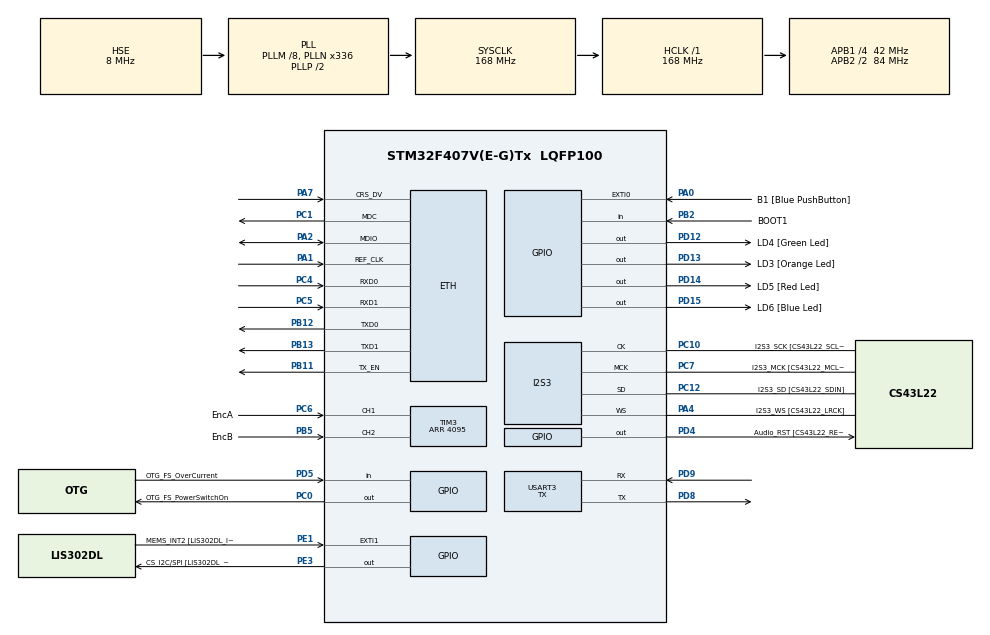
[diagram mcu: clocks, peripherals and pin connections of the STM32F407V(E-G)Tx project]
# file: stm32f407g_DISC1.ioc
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ADC1.Channel-0\#ChannelRegularConversion=ADC_CHANNEL_VREFINT
ADC1.NbrOfConversionFlag=1
ADC1.Rank-0\#ChannelRegularConversion=1
ADC1.SamplingTime-0\#ChannelRegularConversion=ADC_SAMPLETIME_3CYCLES
ADC1.master=1
ETH.MediaInterface=HAL_ETH_RMII_MODE
I2S3.AudioFreq-Half_Duplex_Master=I2S_AUDIOFREQ_96K
I2S3.ErrorAudioFreq=-2.34 %
I2S3.ErrorAudioFreq-Half_Duplex_Master=0.8 %
I2S3.FullDuplexMode=I2S_FULLDUPLEXMODE_DISABLE
I2S3.Instance=SPI$Index
I2S3.RealAudioFreq=93.75 KHz
I2S3.RealAudioFreq-Half_Duplex_Master=96.774 KHz
I2S3.VirtualMode=I2S_MODE_MASTER
LWIP.BSP.number=1
LWIP.GATEWAY_ADDRESS=192.168.100.001
LWIP.IP_ADDRESS=192.168.100.101
LWIP.LWIP_DHCP=0
LWIP.MEMP_NUM_TCP_SEG=24
LWIP.NETMASK_ADDRESS=255.255.255.000
LWIP.TCP_MSS=460
LWIP.TCP_SND_BUF=1840
LWIP.TCP_WND=2048
LWIP.Version=v2.1.2_Cube
LWIP0.BSP.STBoard=false
LWIP0.BSP.api=BSP_COMPONENT_DRIVER
LWIP0.BSP.component=LAN8742
LWIP0.BSP.instance=LAN8742
LWIP0.BSP.name=Driver_PHY
LWIP0.BSP.semaphore=S_LAN8742
LWIP0.BSP.solution=LAN8742
Mcu.Family=STM32F4
Mcu.Name=STM32F407V(E-G)Tx
Mcu.Package=LQFP100
NVIC.ETH_IRQn=true\:0\:0\:false\:false\:true\:true\:true\:true
NVIC.PriorityGroup=NVIC_PRIORITYGROUP_0
NVIC.TIM7_IRQn=true\:0\:0\:false\:false\:true\:true\:true\:true
PA0-WKUP.GPIO_Label=B1 [Blue PushButton]
PA0-WKUP.GPIO_ModeDefaultEXTI=GPIO_MODE_EVT_RISING
PA0-WKUP.GPIO_PuPd=GPIO_NOPULL
PA0-WKUP.Signal=GPXTI0
PA1.Mode=RMII
PA1.Signal=ETH_REF_CLK
PA10.GPIO_Label=OTG_FS_ID
PA10.GPIO_Mode=GPIO_MODE_AF_PP
PA10.GPIO_PuPd=GPIO_NOPULL
PA10.GPIO_Speed=GPIO_SPEED_FREQ_LOW
PA10.Signal=USB_OTG_FS_ID
PA11.GPIO_Label=OTG_FS_DM
PA11.GPIO_Mode=GPIO_MODE_AF_PP
PA11.GPIO_PuPd=GPIO_NOPULL
PA11.GPIO_Speed=GPIO_SPEED_FREQ_LOW
PA11.Signal=USB_OTG_FS_DM
PA12.GPIO_Label=OTG_FS_DP
PA12.GPIO_Mode=GPIO_MODE_AF_PP
PA12.GPIO_PuPd=GPIO_NOPULL
PA12.GPIO_Speed=GPIO_SPEED_FREQ_LOW
PA12.Signal=USB_OTG_FS_DP
PA13.GPIO_Label=SWDIO
PA13.Mode=Serial_Wire
PA13.Signal=SYS_JTMS-SWDIO
PA14.GPIO_Label=SWCLK
PA14.Mode=Serial_Wire
PA14.Signal=SYS_JTCK-SWCLK
PA2.Mode=RMII
PA2.Signal=ETH_MDIO
PA4.GPIO_Label=I2S3_WS [CS43L22_LRCK]
PA4.GPIO_Mode=GPIO_MODE_AF_PP
PA4.GPIO_PuPd=GPIO_NOPULL
PA4.GPIO_Speed=GPIO_SPEED_FREQ_LOW
PA4.Mode=Half_Duplex_Master
PA4.Signal=I2S3_WS
PA5.GPIO_Label=SPI1_SCK [LIS302DL_SCL/SPC]
PA5.GPIO_Mode=GPIO_MODE_AF_PP
PA5.GPIO_PuPd=GPIO_NOPULL
PA5.GPIO_Speed=GPIO_SPEED_FREQ_LOW
PA5.Signal=SPI1_SCK
PA6.GPIO_Label=SPI1_MISO [LIS302DL_SDO]
PA6.GPIO_Mode=GPIO_MODE_AF_PP
PA6.GPIO_PuPd=GPIO_NOPULL
PA6.GPIO_Speed=GPIO_SPEED_FREQ_LOW
PA6.Signal=SPI1_MISO
PA7.Mode=RMII
PA7.Signal=ETH_CRS_DV
PA9.GPIO_Label=VBUS_FS
PA9.GPIO_Mode=GPIO_MODE_INPUT
PA9.GPIO_PuPd=GPIO_NOPULL
PA9.Signal=USB_OTG_FS_VBUS
PB10.GPIO_Label=CLK_IN [MP45DT02_CLK]
PB10.GPIO_Mode=GPIO_MODE_AF_PP
PB10.GPIO_PuPd=GPIO_NOPULL
PB10.GPIO_Speed=GPIO_SPEED_FREQ_LOW
PB10.Signal=I2S2_CK
PB11.Mode=RMII
PB11.Signal=ETH_TX_EN
PB12.Mode=RMII
PB12.Signal=ETH_TXD0
PB13.Mode=RMII
PB13.Signal=ETH_TXD1
PB2.GPIO_Label=BOOT1
PB2.GPIO_Mode=GPIO_MODE_INPUT
PB2.GPIO_PuPd=GPIO_NOPULL
PB2.Signal=GPIO_Input
PB3.GPIO_Label=SWO
PB3.Signal=SYS_JTDO-SWO
PB5.GPIO_Label=EncB
PB5.GPIO_PuPd=GPIO_PULLDOWN
PB5.Signal=S_TIM3_CH2
PB6.GPIO_Label=Audio_SCL [CS43L22_SCL]
PB6.GPIO_Mode=GPIO_MODE_AF_OD
PB6.GPIO_Pu=GPIO_PULLUP
PB6.GPIO_PuPd=GPIO_NOPULL
PB6.GPIO_Speed=GPIO_SPEED_FREQ_LOW
PB6.Signal=I2C1_SCL
PB9.GPIO_Label=Audio_SDA [CS43L22_SDA]
PB9.GPIO_Mode=GPIO_MODE_AF_OD
PB9.GPIO_Pu=GPIO_PULLUP
PB9.GPIO_PuPd=GPIO_NOPULL
PB9.GPIO_Speed=GPIO_SPEED_FREQ_LOW
PB9.Signal=I2C1_SDA
PC0.GPIO_Label=OTG_FS_PowerSwitchOn
PC0.GPIO_PuPd=GPIO_NOPULL
PC0.GPIO_Speed=GPIO_SPEED_FREQ_LOW
PC0.PinState=GPIO_PIN_SET
PC0.Signal=GPIO_Output
PC1.Mode=RMII
PC1.Signal=ETH_MDC
PC10.GPIO_Label=I2S3_SCK [CS43L22_SCLK]
PC10.GPIO_Mode=GPIO_MODE_AF_PP
PC10.GPIO_PuPd=GPIO_NOPULL
PC10.GPIO_Speed=GPIO_SPEED_FREQ_LOW
PC10.Mode=Half_Duplex_Master
PC10.Signal=I2S3_CK
PC12.GPIO_Label=I2S3_SD [CS43L22_SDIN]
PC12.GPIO_Mode=GPIO_MODE_AF_PP
PC12.GPIO_PuPd=GPIO_NOPULL
PC12.GPIO_Speed=GPIO_SPEED_FREQ_LOW
PC12.Mode=Half_Duplex_Master
PC12.Signal=I2S3_SD
PC14-OSC32_IN.GPIO_Label=PC14-OSC32_IN
PC14-OSC32_IN.Mode=LSE-External-Oscillator
PC14-OSC32_IN.Signal=RCC_OSC32_IN
PC15-OSC32_OUT.GPIO_Label=PC15-OSC32_OUT
PC15-OSC32_OUT.Mode=LSE-External-Oscillator
PC15-OSC32_OUT.Signal=RCC_OSC32_OUT
PC3.GPIO_Label=PDM_OUT [MP45DT02_DOUT]
PC3.GPIO_Mode=GPIO_MODE_AF_PP
PC3.GPIO_PuPd=GPIO_NOPULL
PC3.GPIO_Speed=GPIO_SPEED_FREQ_LOW
PC3.Signal=I2S2_SD
PC4.Mode=RMII
PC4.Signal=ETH_RXD0
PC5.Mode=RMII
PC5.Signal=ETH_RXD1
PC6.GPIO_Label=EncA
PC6.GPIO_PuPd=GPIO_PULLDOWN
PC6.Signal=S_TIM3_CH1
PC7.GPIO_Label=I2S3_MCK [CS43L22_MCLK]
PC7.GPIO_Mode=GPIO_MODE_AF_PP
PC7.GPIO_PuPd=GPIO_NOPULL
PC7.GPIO_Speed=GPIO_SPEED_FREQ_LOW
PC7.Mode=Master_Clock_Activated
PC7.Signal=I2S3_MCK
PD12.GPIO_Label=LD4 [Green Led]
PD12.GPIO_PuPd=GPIO_NOPULL
PD12.GPIO_Speed=GPIO_SPEED_FREQ_LOW
PD12.Signal=GPIO_Output
PD13.GPIO_Label=LD3 [Orange Led]
PD13.GPIO_PuPd=GPIO_NOPULL
PD13.GPIO_Speed=GPIO_SPEED_FREQ_LOW
PD13.Signal=GPIO_Output
PD14.GPIO_Label=LD5 [Red Led]
PD14.GPIO_PuPd=GPIO_NOPULL
PD14.GPIO_Speed=GPIO_SPEED_FREQ_LOW
PD14.Signal=GPIO_Output
PD15.GPIO_Label=LD6 [Blue Led]
PD15.GPIO_PuPd=GPIO_NOPULL
PD15.GPIO_Speed=GPIO_SPEED_FREQ_LOW
PD15.Signal=GPIO_Output
PD4.GPIO_Label=Audio_RST [CS43L22_RESET]
PD4.GPIO_PuPd=GPIO_NOPULL
PD4.GPIO_Speed=GPIO_SPEED_FREQ_LOW
PD4.Signal=GPIO_Output
PD5.GPIO_Label=OTG_FS_OverCurrent
PD5.GPIO_Mode=GPIO_MODE_INPUT
PD5.GPIO_PuPd=GPIO_NOPULL
PD5.Signal=GPIO_Input
PD8.Mode=Asynchronous
PD8.Signal=USART3_TX
PD9.Mode=Asynchronous
PD9.Signal=USART3_RX
PE1.GPIO_Label=MEMS_INT2 [LIS302DL_INT2]
PE1.GPIO_ModeDefaultEXTI=GPIO_MODE_EVT_RISING
PE1.GPIO_PuPd=GPIO_NOPULL
PE1.Signal=GPXTI1
PE3.GPIO_Label=CS_I2C/SPI [LIS302DL_CS_I2C/SPI]
PE3.GPIO_PuPd=GPIO_NOPULL
PE3.GPIO_Speed=GPIO_SPEED_FREQ_LOW
PE3.Signal=GPIO_Output
PH0-OSC_IN.GPIO_Label=PH0-OSC_IN
PH0-OSC_IN.Mode=HSE-External-Oscillator
PH0-OSC_IN.Signal=RCC_OSC_IN
PH1-OSC_OUT.GPIO_Label=PH1-OSC_OUT
PH1-OSC_OUT.Mode=HSE-External-Oscillator
PH1-OSC_OUT.Signal=RCC_OSC_OUT
ProjectManager.HeapSize=0x2000
ProjectManager.StackSize=0x4000
ProjectManager.TargetToolchain=STM32CubeIDE
RCC.48MHZClocksFreq_Value=48000000
RCC.AHBFreq_Value=168000000
RCC.APB1CLKDivider=RCC_HCLK_DIV4
RCC.APB1Freq_Value=42000000
RCC.APB1TimFreq_Value=84000000
RCC.APB2CLKDivider=RCC_HCLK_DIV2
RCC.APB2Freq_Value=84000000
RCC.APB2TimFreq_Value=168000000
RCC.CortexFreq_Value=168000000
RCC.HCLKFreq_Value=168000000
RCC.HSE_VALUE=8000000
RCC.HSI_VALUE=16000000
RCC.PLLM=8
RCC.PLLN=336
RCC.PLLQ=7
RCC.PLLSourceVirtual=RCC_PLLSOURCE_HSE
RCC.SYSCLKFreq_VALUE=168000000
RCC.SYSCLKSource=RCC_SYSCLKSOURCE_PLLCLK
RCC.VCOOutputFreq_Value=336000000
SH.S_TIM3_CH1.0=TIM3_CH1,Encoder_Interface
SH.S_TIM3_CH2.0=TIM3_CH2,Encoder_Interface
TIM3.EncoderMode=TIM_ENCODERMODE_TI2
TIM3.IC1Filter=15
TIM3.IC2Filter=15
TIM3.Period=4095
TIM7.Prescaler=83
USART3.Mode=MODE_TX
USART3.VirtualMode=VM_ASYNC
VP_ADC1_Vref_Input.Mode=IN-Vrefint
VP_CRC_VS_CRC.Mode=CRC_Activate
VP_LWIP_VS_Enabled.Mode=Enabled
VP_TIM7_VS_ClockSourceINT.Mode=Enable_Timer
board=STM32F407G-DISC1

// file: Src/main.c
/* USER CODE BEGIN Header */
/**
  ******************************************************************************
  * @file           : main.c
  * @brief          : Main program body
  ******************************************************************************
  * @attention
  *
  * Copyright (c) 2024 STMicroelectronics.
  * All rights reserved.
  *
  * This software is licensed under terms that can be found in the LICENSE file
  * in the root directory of this software component.
  * If no LICENSE file comes with this software, it is provided AS-IS.
  *
  ******************************************************************************
  */
/* USER CODE END Header */
#include "main.h"
#include "lwip.h"

/* USER CODE BEGIN Includes */
#include <stdarg.h>
//information from datasheet DS8626 Rev 10 for STM32F40xxx
#define VREF_PLUS_CHARAC 3.3f
#define VREFINT_CAL_ADDR 0x1FFF7A2A
float get_stm_VDDA(ADC_HandleTypeDef *hadc);
#ifndef EXCLUDE_MPU6050
//compile main.c with g++ compilator! we need safe compatibility with STMCubeMx
//#include "MPU6050_6Axis_MotionApps612.h"
//#include "MPU6050_6Axis_MotionApps20.h"
//#include "MPU6050_9Axis_MotionApps41.h"
//#include "IMU_Zero.h"
//#include "HMC5883L.h"
MPU6050 mpu;
#define accelgyro mpu
extern "C" int __io_putchar(int ch);
#define M_PI           3.14159265358979323846  /* pi */
// class default I2C address is 0x1E
// specific I2C addresses may be passed as a parameter here
// this device only supports one I2C address (0x1E)
HMC5883L mag;
#endif
/* USER CODE END Includes */

ADC_HandleTypeDef hadc1;

CRC_HandleTypeDef hcrc;

I2S_HandleTypeDef hi2s3;

TIM_HandleTypeDef htim3;
TIM_HandleTypeDef htim7;

UART_HandleTypeDef huart3;

void SystemClock_Config(void);
static void MX_GPIO_Init(void);
static void MX_I2S3_Init(void);
static void MX_TIM7_Init(void);
static void MX_TIM3_Init(void);
static void MX_CRC_Init(void);
static void MX_USART3_UART_Init(void);
static void MX_ADC1_Init(void);

/* USER CODE BEGIN 0 */
//new branch
uint32_t Crc32(uint32_t Crc, uint32_t Data)
{
 uint8_t i;

 Crc = Crc ^ Data;

 for(i=0; i<32; i++)
   if (Crc & 0x80000000)
     Crc = (Crc << 1) ^ 0x04C11DB7; // Polynomial used in STM32
   else
     Crc = (Crc << 1);

 return(Crc);
}

/* USER CODE END 0 */

int main(void)
{

  /* MCU Configuration--------------------------------------------------------*/

  /* Reset of all peripherals, Initializes the Flash interface and the Systick. */
  HAL_Init();

  /* Configure the system clock */
  SystemClock_Config();

  /* USER CODE BEGIN SysInit */
  setvbuf(stdin, NULL, _IONBF, 0);
  setvbuf(stdout, NULL, _IONBF, 0);
  setvbuf(stderr, NULL, _IONBF, 0);
  /* USER CODE END SysInit */

  /* Initialize all configured peripherals */
  MX_GPIO_Init();
  MX_I2S3_Init();
  MX_TIM7_Init();
  MX_TIM3_Init();
  MX_CRC_Init();
  MX_USART3_UART_Init();
  MX_LWIP_Init();
  MX_ADC1_Init();
  /* USER CODE BEGIN 2 */
  uint32_t pBuffer = 0x01020304;
  uint32_t crc32 = HAL_CRC_Calculate(&hcrc,&pBuffer, 1);
  uint32_t crc_polynom;
  uint32_t crc_cal2 = 0;
  crc32 = ~crc32;
  crc_polynom = 0xFFFFFFFF;
  crc_cal2 = Crc32(crc_polynom, pBuffer);
  //printf("crc32: %lx %lx\n",crc32,crc_cal2);
  /* USER CODE END 2 */

  /* Infinite loop */
  /* USER CODE BEGIN WHILE */
  uint32_t tmp = 0;
  //printf("Hello World\n");
  //printf("Hello World\n");
    // Запуск таймера для генерации сигнала
  while (1)
  {
    MX_LWIP_Process();
    HAL_Delay(100);
    HAL_GPIO_TogglePin(GPIOD, LD4_Pin|LD3_Pin|LD5_Pin|LD6_Pin);
    print("stm vdda: %.2f\n",get_stm_VDDA(&hadc1));
    /* USER CODE END WHILE */

  }
}

void SystemClock_Config(void)
{
  RCC_OscInitTypeDef RCC_OscInitStruct = {0};
  RCC_ClkInitTypeDef RCC_ClkInitStruct = {0};

  /** Configure the main internal regulator output voltage
  */
  __HAL_RCC_PWR_CLK_ENABLE();
  __HAL_PWR_VOLTAGESCALING_CONFIG(PWR_REGULATOR_VOLTAGE_SCALE1);

  /** Initializes the RCC Oscillators according to the specified parameters
  * in the RCC_OscInitTypeDef structure.
  */
  RCC_OscInitStruct.OscillatorType = RCC_OSCILLATORTYPE_HSE;
  RCC_OscInitStruct.HSEState = RCC_HSE_ON;
  RCC_OscInitStruct.PLL.PLLState = RCC_PLL_ON;
  RCC_OscInitStruct.PLL.PLLSource = RCC_PLLSOURCE_HSE;
  RCC_OscInitStruct.PLL.PLLM = 8;
  RCC_OscInitStruct.PLL.PLLN = 336;
  RCC_OscInitStruct.PLL.PLLP = RCC_PLLP_DIV2;
  RCC_OscInitStruct.PLL.PLLQ = 7;
  if (HAL_RCC_OscConfig(&RCC_OscInitStruct) != HAL_OK)
  {
    Error_Handler();
  }

  /** Initializes the CPU, AHB and APB buses clocks
  */
  RCC_ClkInitStruct.ClockType = RCC_CLOCKTYPE_HCLK|RCC_CLOCKTYPE_SYSCLK
                              |RCC_CLOCKTYPE_PCLK1|RCC_CLOCKTYPE_PCLK2;
  RCC_ClkInitStruct.SYSCLKSource = RCC_SYSCLKSOURCE_PLLCLK;
  RCC_ClkInitStruct.AHBCLKDivider = RCC_SYSCLK_DIV1;
  RCC_ClkInitStruct.APB1CLKDivider = RCC_HCLK_DIV4;
  RCC_ClkInitStruct.APB2CLKDivider = RCC_HCLK_DIV2;

  if (HAL_RCC_ClockConfig(&RCC_ClkInitStruct, FLASH_LATENCY_5) != HAL_OK)
  {
    Error_Handler();
  }
}

static void MX_ADC1_Init(void)
{

  ADC_ChannelConfTypeDef sConfig = {0};

  /** Configure the global features of the ADC (Clock, Resolution, Data Alignment and number of conversion)
  */
  hadc1.Instance = ADC1;
  hadc1.Init.ClockPrescaler = ADC_CLOCK_SYNC_PCLK_DIV4;
  hadc1.Init.Resolution = ADC_RESOLUTION_12B;
  hadc1.Init.ScanConvMode = DISABLE;
  hadc1.Init.ContinuousConvMode = DISABLE;
  hadc1.Init.DiscontinuousConvMode = DISABLE;
  hadc1.Init.ExternalTrigConvEdge = ADC_EXTERNALTRIGCONVEDGE_NONE;
  hadc1.Init.ExternalTrigConv = ADC_SOFTWARE_START;
  hadc1.Init.DataAlign = ADC_DATAALIGN_RIGHT;
  hadc1.Init.NbrOfConversion = 1;
  hadc1.Init.DMAContinuousRequests = DISABLE;
  hadc1.Init.EOCSelection = ADC_EOC_SINGLE_CONV;
  if (HAL_ADC_Init(&hadc1) != HAL_OK)
  {
    Error_Handler();
  }

  /** Configure for the selected ADC regular channel its corresponding rank in the sequencer and its sample time.
  */
  sConfig.Channel = ADC_CHANNEL_VREFINT;
  sConfig.Rank = 1;
  sConfig.SamplingTime = ADC_SAMPLETIME_480CYCLES;
  if (HAL_ADC_ConfigChannel(&hadc1, &sConfig) != HAL_OK)
  {
    Error_Handler();
  }

}

static void MX_CRC_Init(void)
{

  hcrc.Instance = CRC;
  if (HAL_CRC_Init(&hcrc) != HAL_OK)
  {
    Error_Handler();
  }

}

static void MX_I2S3_Init(void)
{

  hi2s3.Instance = SPI3;
  hi2s3.Init.Mode = I2S_MODE_MASTER_TX;
  hi2s3.Init.Standard = I2S_STANDARD_PHILIPS;
  hi2s3.Init.DataFormat = I2S_DATAFORMAT_16B;
  hi2s3.Init.MCLKOutput = I2S_MCLKOUTPUT_ENABLE;
  hi2s3.Init.AudioFreq = I2S_AUDIOFREQ_96K;
  hi2s3.Init.CPOL = I2S_CPOL_LOW;
  hi2s3.Init.ClockSource = I2S_CLOCK_PLL;
  hi2s3.Init.FullDuplexMode = I2S_FULLDUPLEXMODE_DISABLE;
  if (HAL_I2S_Init(&hi2s3) != HAL_OK)
  {
    Error_Handler();
  }

}

static void MX_TIM3_Init(void)
{

  TIM_Encoder_InitTypeDef sConfig = {0};
  TIM_MasterConfigTypeDef sMasterConfig = {0};

  htim3.Instance = TIM3;
  htim3.Init.Prescaler = 0;
  htim3.Init.CounterMode = TIM_COUNTERMODE_UP;
  htim3.Init.Period = 4095;
  htim3.Init.ClockDivision = TIM_CLOCKDIVISION_DIV1;
  htim3.Init.AutoReloadPreload = TIM_AUTORELOAD_PRELOAD_DISABLE;
  sConfig.EncoderMode = TIM_ENCODERMODE_TI2;
  sConfig.IC1Polarity = TIM_ICPOLARITY_RISING;
  sConfig.IC1Selection = TIM_ICSELECTION_DIRECTTI;
  sConfig.IC1Prescaler = TIM_ICPSC_DIV1;
  sConfig.IC1Filter = 15;
  sConfig.IC2Polarity = TIM_ICPOLARITY_RISING;
  sConfig.IC2Selection = TIM_ICSELECTION_DIRECTTI;
  sConfig.IC2Prescaler = TIM_ICPSC_DIV1;
  sConfig.IC2Filter = 15;
  if (HAL_TIM_Encoder_Init(&htim3, &sConfig) != HAL_OK)
  {
    Error_Handler();
  }
  sMasterConfig.MasterOutputTrigger = TIM_TRGO_RESET;
  sMasterConfig.MasterSlaveMode = TIM_MASTERSLAVEMODE_DISABLE;
  if (HAL_TIMEx_MasterConfigSynchronization(&htim3, &sMasterConfig) != HAL_OK)
  {
    Error_Handler();
  }
  /* USER CODE BEGIN TIM3_Init 2 */
  HAL_TIM_Encoder_Start_IT(&htim3, TIM_CHANNEL_ALL);
  /* USER CODE END TIM3_Init 2 */

}

static void MX_TIM7_Init(void)
{

  TIM_MasterConfigTypeDef sMasterConfig = {0};

  htim7.Instance = TIM7;
  htim7.Init.Prescaler = 83;
  htim7.Init.CounterMode = TIM_COUNTERMODE_UP;
  htim7.Init.Period = 65535;
  htim7.Init.AutoReloadPreload = TIM_AUTORELOAD_PRELOAD_DISABLE;
  if (HAL_TIM_Base_Init(&htim7) != HAL_OK)
  {
    Error_Handler();
  }
  sMasterConfig.MasterOutputTrigger = TIM_TRGO_RESET;
  sMasterConfig.MasterSlaveMode = TIM_MASTERSLAVEMODE_DISABLE;
  if (HAL_TIMEx_MasterConfigSynchronization(&htim7, &sMasterConfig) != HAL_OK)
  {
    Error_Handler();
  }
  /* USER CODE BEGIN TIM7_Init 2 */
   HAL_TIM_Base_Start(&htim7);
   __HAL_TIM_CLEAR_FLAG(&htim7, TIM_FLAG_UPDATE);
  /* USER CODE END TIM7_Init 2 */

}

static void MX_USART3_UART_Init(void)
{

  huart3.Instance = USART3;
  huart3.Init.BaudRate = 115200;
  huart3.Init.WordLength = UART_WORDLENGTH_8B;
  huart3.Init.StopBits = UART_STOPBITS_1;
  huart3.Init.Parity = UART_PARITY_NONE;
  huart3.Init.Mode = UART_MODE_TX;
  huart3.Init.HwFlowCtl = UART_HWCONTROL_NONE;
  huart3.Init.OverSampling = UART_OVERSAMPLING_16;
  if (HAL_UART_Init(&huart3) != HAL_OK)
  {
    Error_Handler();
  }

}

static void MX_GPIO_Init(void)
{
  GPIO_InitTypeDef GPIO_InitStruct = {0};

  /* GPIO Ports Clock Enable */
  __HAL_RCC_GPIOE_CLK_ENABLE();
  __HAL_RCC_GPIOC_CLK_ENABLE();
  __HAL_RCC_GPIOH_CLK_ENABLE();
  __HAL_RCC_GPIOA_CLK_ENABLE();
  __HAL_RCC_GPIOB_CLK_ENABLE();
  __HAL_RCC_GPIOD_CLK_ENABLE();

  /*Configure GPIO pin Output Level */
  HAL_GPIO_WritePin(CS_I2C_SPI_GPIO_Port, CS_I2C_SPI_Pin, GPIO_PIN_RESET);

  /*Configure GPIO pin Output Level */
  HAL_GPIO_WritePin(OTG_FS_PowerSwitchOn_GPIO_Port, OTG_FS_PowerSwitchOn_Pin, GPIO_PIN_SET);

  /*Configure GPIO pin Output Level */
  HAL_GPIO_WritePin(GPIOD, LD4_Pin|LD3_Pin|LD5_Pin|LD6_Pin
                          |Audio_RST_Pin, GPIO_PIN_RESET);

  /*Configure GPIO pin : CS_I2C_SPI_Pin */
  GPIO_InitStruct.Pin = CS_I2C_SPI_Pin;
  GPIO_InitStruct.Mode = GPIO_MODE_OUTPUT_PP;
  GPIO_InitStruct.Pull = GPIO_NOPULL;
  GPIO_InitStruct.Speed = GPIO_SPEED_FREQ_LOW;
  HAL_GPIO_Init(CS_I2C_SPI_GPIO_Port, &GPIO_InitStruct);

  /*Configure GPIO pin : OTG_FS_PowerSwitchOn_Pin */
  GPIO_InitStruct.Pin = OTG_FS_PowerSwitchOn_Pin;
  GPIO_InitStruct.Mode = GPIO_MODE_OUTPUT_PP;
  GPIO_InitStruct.Pull = GPIO_NOPULL;
  GPIO_InitStruct.Speed = GPIO_SPEED_FREQ_LOW;
  HAL_GPIO_Init(OTG_FS_PowerSwitchOn_GPIO_Port, &GPIO_InitStruct);

  /*Configure GPIO pin : PDM_OUT_Pin */
  GPIO_InitStruct.Pin = PDM_OUT_Pin;
  GPIO_InitStruct.Mode = GPIO_MODE_AF_PP;
  GPIO_InitStruct.Pull = GPIO_NOPULL;
  GPIO_InitStruct.Speed = GPIO_SPEED_FREQ_LOW;
  GPIO_InitStruct.Alternate = GPIO_AF5_SPI2;
  HAL_GPIO_Init(PDM_OUT_GPIO_Port, &GPIO_InitStruct);

  /*Configure GPIO pin : B1_Pin */
  GPIO_InitStruct.Pin = B1_Pin;
  GPIO_InitStruct.Mode = GPIO_MODE_EVT_RISING;
  GPIO_InitStruct.Pull = GPIO_NOPULL;
  HAL_GPIO_Init(B1_GPIO_Port, &GPIO_InitStruct);

  /*Configure GPIO pins : SPI1_SCK_Pin SPI1_MISO_Pin */
  GPIO_InitStruct.Pin = SPI1_SCK_Pin|SPI1_MISO_Pin;
  GPIO_InitStruct.Mode = GPIO_MODE_AF_PP;
  GPIO_InitStruct.Pull = GPIO_NOPULL;
  GPIO_InitStruct.Speed = GPIO_SPEED_FREQ_LOW;
  GPIO_InitStruct.Alternate = GPIO_AF5_SPI1;
  HAL_GPIO_Init(GPIOA, &GPIO_InitStruct);

  /*Configure GPIO pin : BOOT1_Pin */
  GPIO_InitStruct.Pin = BOOT1_Pin;
  GPIO_InitStruct.Mode = GPIO_MODE_INPUT;
  GPIO_InitStruct.Pull = GPIO_NOPULL;
  HAL_GPIO_Init(BOOT1_GPIO_Port, &GPIO_InitStruct);

  /*Configure GPIO pin : CLK_IN_Pin */
  GPIO_InitStruct.Pin = CLK_IN_Pin;
  GPIO_InitStruct.Mode = GPIO_MODE_AF_PP;
  GPIO_InitStruct.Pull = GPIO_NOPULL;
  GPIO_InitStruct.Speed = GPIO_SPEED_FREQ_LOW;
  GPIO_InitStruct.Alternate = GPIO_AF5_SPI2;
  HAL_GPIO_Init(CLK_IN_GPIO_Port, &GPIO_InitStruct);

  /*Configure GPIO pins : LD4_Pin LD3_Pin LD5_Pin LD6_Pin
                           Audio_RST_Pin */
  GPIO_InitStruct.Pin = LD4_Pin|LD3_Pin|LD5_Pin|LD6_Pin
                          |Audio_RST_Pin;
  GPIO_InitStruct.Mode = GPIO_MODE_OUTPUT_PP;
  GPIO_InitStruct.Pull = GPIO_NOPULL;
  GPIO_InitStruct.Speed = GPIO_SPEED_FREQ_LOW;
  HAL_GPIO_Init(GPIOD, &GPIO_InitStruct);

  /*Configure GPIO pin : VBUS_FS_Pin */
  GPIO_InitStruct.Pin = VBUS_FS_Pin;
  GPIO_InitStruct.Mode = GPIO_MODE_INPUT;
  GPIO_InitStruct.Pull = GPIO_NOPULL;
  HAL_GPIO_Init(VBUS_FS_GPIO_Port, &GPIO_InitStruct);

  /*Configure GPIO pins : OTG_FS_ID_Pin OTG_FS_DM_Pin OTG_FS_DP_Pin */
  GPIO_InitStruct.Pin = OTG_FS_ID_Pin|OTG_FS_DM_Pin|OTG_FS_DP_Pin;
  GPIO_InitStruct.Mode = GPIO_MODE_AF_PP;
  GPIO_InitStruct.Pull = GPIO_NOPULL;
  GPIO_InitStruct.Speed = GPIO_SPEED_FREQ_LOW;
  GPIO_InitStruct.Alternate = GPIO_AF10_OTG_FS;
  HAL_GPIO_Init(GPIOA, &GPIO_InitStruct);

  /*Configure GPIO pin : OTG_FS_OverCurrent_Pin */
  GPIO_InitStruct.Pin = OTG_FS_OverCurrent_Pin;
  GPIO_InitStruct.Mode = GPIO_MODE_INPUT;
  GPIO_InitStruct.Pull = GPIO_NOPULL;
  HAL_GPIO_Init(OTG_FS_OverCurrent_GPIO_Port, &GPIO_InitStruct);

  /*Configure GPIO pins : Audio_SCL_Pin Audio_SDA_Pin */
  GPIO_InitStruct.Pin = Audio_SCL_Pin|Audio_SDA_Pin;
  GPIO_InitStruct.Mode = GPIO_MODE_AF_OD;
  GPIO_InitStruct.Pull = GPIO_PULLUP;
  GPIO_InitStruct.Speed = GPIO_SPEED_FREQ_LOW;
  GPIO_InitStruct.Alternate = GPIO_AF4_I2C1;
  HAL_GPIO_Init(GPIOB, &GPIO_InitStruct);

  /*Configure GPIO pin : MEMS_INT2_Pin */
  GPIO_InitStruct.Pin = MEMS_INT2_Pin;
  GPIO_InitStruct.Mode = GPIO_MODE_EVT_RISING;
  GPIO_InitStruct.Pull = GPIO_NOPULL;
  HAL_GPIO_Init(MEMS_INT2_GPIO_Port, &GPIO_InitStruct);

/* USER CODE BEGIN MX_GPIO_Init_2 */
  // Кнопка USER (PA0)
  GPIO_InitStruct.Pin = GPIO_PIN_0;
  GPIO_InitStruct.Mode = GPIO_MODE_INPUT;
  GPIO_InitStruct.Pull = GPIO_PULLUP;
  HAL_GPIO_Init(GPIOA, &GPIO_InitStruct);

      // PA4 - DAC1_OUT1
    GPIO_InitStruct.Pin = GPIO_PIN_4;
    GPIO_InitStruct.Mode = GPIO_MODE_ANALOG;
    GPIO_InitStruct.Pull = GPIO_NOPULL;
    HAL_GPIO_Init(GPIOA, &GPIO_InitStruct);

    // PA0 - ADC1_IN0
    GPIO_InitStruct.Pin = GPIO_PIN_0;
    HAL_GPIO_Init(GPIOA, &GPIO_InitStruct);
/* USER CODE END MX_GPIO_Init_2 */
}

/* USER CODE BEGIN 4 */
/*
TO DO: проверить работу символа новой строки:

Символ новый строки в определенных случаях теряется гдето в недрах библиотеки, к примеру:
printf("Hello\n");   - символ новый строки "\n" потеряется
printf("Hello\n",1); - вот так не потеряется

UPD: проверка выполнена
при printf("Hello\n") вызывается _write с len 5 "Hello", а затем
сразу _write с len 1 "\n".
*/
int __io_putchar(int ch)
{
  HAL_UART_Transmit(&huart3, (uint8_t *)&ch, 1, 10);
  return ch;
}

void print(const char *format, ...) {
  char buffer[128]; // Подберите размер под ваши нужды
  va_list args;

  va_start(args, format);
  int len = vsnprintf(buffer, sizeof(buffer), format, args);
  va_end(args);

  if (len > 0) {
    //CDC_Transmit_FS((uint8_t *)buffer, len);
    HAL_UART_Transmit(&huart3, (uint8_t *)buffer, len, 100);
  }
}

float get_stm_VDDA(ADC_HandleTypeDef *hadc){

    int adc_data = 0;
    float res = -1.0;

    HAL_ADC_Start(hadc);
    if(HAL_ADC_PollForConversion(hadc, 1000) == HAL_OK){
        adc_data = (int)HAL_ADC_GetValue(hadc);

        //VREFINT = (adc_data × VREF_PLUS_CHARAC) / 4095.0f
        //VDDA
        res = (*((uint16_t*)VREFINT_CAL_ADDR) * VREF_PLUS_CHARAC) / adc_data;
        //printf("ADC value: %d adc vol: %.2f\n",adc_data, res );
    }
    return res;
}
/* USER CODE END 4 */

void Error_Handler(void)
{
  __disable_irq();
  while (1)
  {
  }
}
